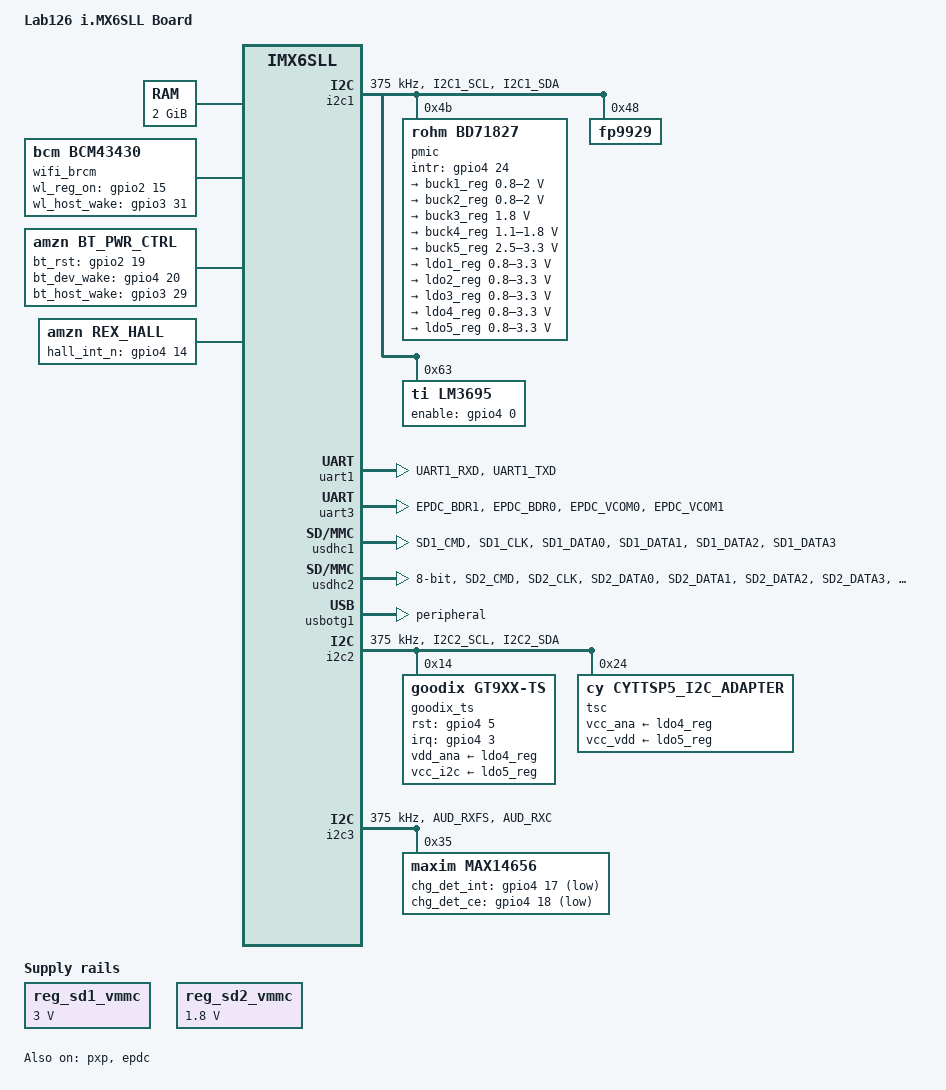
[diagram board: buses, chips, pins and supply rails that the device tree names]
/*
 * Copyright (C) 2016 Freescale Semiconductor, Inc.
 *
 * This program is free software; you can redistribute it and/or modify
 * it under the terms of the GNU General Public License version 2 as
 * published by the Free Software Foundation.
 */

/dts-v1/;

#include <dt-bindings/gpio/gpio.h>
#include <dt-bindings/input/input.h>
#include "imx6sll.dtsi"

/ {
	model = "Lab126 i.MX6SLL Board";
	compatible = "amzn,imx6sll-rex", "fsl,imx6sll";

	memory {
		reg = <0x80000000 0x80000000>;
	};

	reserved-memory {
		#address-cells = <1>;
		#size-cells = <1>;
		ranges;

		epdc_working_buffer: epdc_reserved {
			reg = <0x9b000000 0x300000>;
			no-map;
		};
	};

	wifi_brcm {
		compatible = "bcm,bcm43430";
		wl_reg_on = <&gpio2 15 0>; /* Power on/off GPIO */
		wl_host_wake = <&gpio3 31 0>; /* Host wake for OOB */
	};

	bt_pwr_ctrl {
                compatible = "amzn,bt_pwr_ctrl";
                bt_rst = <&gpio2 19 0>; /* Power on/off GPIO */
                bt_dev_wake = <&gpio4 20 0>; /*BT wake for OOB */
                bt_host_wake = <&gpio3 29 0>; /* Host wake for OOB */
	};

	pxp_v4l2_out {
		compatible = "fsl,imx6sl-pxp-v4l2";
		status = "okay";
	};

	rex_hall {
		compatible = "amzn,rex_hall";
		hall_int_n = <&gpio4 14 0>; /* Use ECSPI2_MISO as hall input from pre-HVT */
		enable-active-high;
		status = "okay";
	};

	regulators {
		compatible = "simple-bus";
		#address-cells = <1>;
		#size-cells = <0>;

		reg_sd1_vmmc: sd1_vmmc {
			compatible = "regulator-fixed";
			regulator-name = "SD1_SPWR";
			regulator-min-microvolt = <3000000>;
			regulator-max-microvolt = <3000000>;
/*Fixme
			gpio = <&gpio3 30 GPIO_ACTIVE_HIGH>;
			enable-active-high;
*/
		};

		reg_sd2_vmmc: sd2_vmmc {
			compatible = "regulator-fixed";
			regulator-name = "eMMC_VCCQ";
			regulator-min-microvolt = <1800000>;
			regulator-max-microvolt = <1800000>;
			regulator-boot-on;
		};
	};

	ramoops_device {
		compatible = "fsl,mxc_ramoops";
		record_size = <524288>; /*512K*/
		console_size= <262144>; /*256K*/
		ftrace_size= <262144>;  /*256K*/
		dump_oops = <1>;
		status = "okay";
	};

	regulator-virtuals {
		compatible = "simple-bus";

		virt-buck1 {
			compatible = "regulator-virtual";
			virtual-supply = "buck1";
		};
		virt-buck2 {
			compatible = "regulator-virtual";
			virtual-supply = "buck2";
		};
		virt-buck3 {
			compatible = "regulator-virtual";
			virtual-supply = "buck3";
		};
		virt-buck4 {
			compatible = "regulator-virtual";
			virtual-supply = "buck4";
		};
		virt-buck5 {
			compatible = "regulator-virtual";
			virtual-supply = "buck5";
		};
		virt-ldo1 {
			compatible = "regulator-virtual";
			virtual-supply = "ldo1";
		};
		virt-ldo2 {
			compatible = "regulator-virtual";
			virtual-supply = "ldo2";
		};
		virt-ldo3 {
			compatible = "regulator-virtual";
			virtual-supply = "ldo3";
		};
		virt-ldo4 {
			compatible = "regulator-virtual";
			virtual-supply = "ldo4";
		};
		virt-ldo5 {
			compatible = "regulator-virtual";
			virtual-supply = "ldo5";
		};
		virt-ldo6 {
			compatible = "regulator-virtual";
			virtual-supply = "ldo6";
		};
		virt-ldosnvs {
			compatible = "regulator-virtual";
			virtual-supply = "ldosnvs";
		};
	};
};


&cpu0 {
	arm-supply = <&buck2_reg>;
	soc-supply = <&buck1_reg>;
};


&i2c1 {
	clock-frequency = <375000>;
	pinctrl-names = "default";
	pinctrl-0 = <&pinctrl_i2c1>;
	status = "okay";

    pmic: bd71827@4b {
        reg = <0x4b>;
        compatible = "rohm,bd71827";
        /* PMIC_INT_B GPIO4_IO24 */
        gpio_intr = <&gpio4 24 0>;

        bd71827,pmic-buck1-uses-i2c-dvs;
        bd71827,pmic-buck1-dvs-voltage = <1100000>, <900000>, <900000>; /* VDD_ARM: Run-Idle-Suspend */
        bd71827,pmic-buck2-uses-i2c-dvs;
        bd71827,pmic-buck2-dvs-voltage = <1100000>, <900000>, <900000>; /* VDD_SOC: Run-Idle-Suspend */

        gpo {
            rohm,drv = <0x0C>;  /* 0b0000_1100 all gpos with cmos output mode */
        };

        regulators {
            #address-cells = <1>;
            #size-cells = <0>;

            buck1_reg: regulator@0 {
                reg = <0>;
                regulator-compatible = "buck1";
                regulator-min-microvolt = <800000>;
                regulator-max-microvolt = <2000000>;
                regulator-boot-on;
                regulator-always-on;
                regulator-ramp-delay = <6250>;
            };

            buck2_reg: regulator@1 {
                reg = <1>;
                regulator-compatible = "buck2";
                regulator-min-microvolt = <800000>;
                regulator-max-microvolt = <2000000>;
                regulator-boot-on;
                regulator-always-on;
                regulator-ramp-delay = <6250>;
            };

            buck3_reg: regulator@2 {
                reg = <2>;
                regulator-compatible = "buck3";
                regulator-min-microvolt = <1800000>;
                regulator-max-microvolt = <1800000>;
                regulator-boot-on;
                regulator-always-on;
            };

            buck4_reg: regulator@3 {
                reg = <3>;
                regulator-compatible = "buck4";
                regulator-min-microvolt = <1100000>;
                regulator-max-microvolt = <1800000>;
                regulator-boot-on;
                regulator-always-on;
            };

            buck5_reg: regulator@4 {
                reg = <4>;
                regulator-compatible = "buck5";
                regulator-min-microvolt = <2500000>;
                regulator-max-microvolt = <3300000>;
                regulator-boot-on;
                regulator-always-on;
            };

            ldo1_reg: regulator@5 {
                reg = <5>;
                regulator-compatible = "ldo1";
                regulator-min-microvolt = <800000>;
                regulator-max-microvolt = <3300000>;
                regulator-boot-on;
                regulator-always-on;
            };

            ldo2_reg: regulator@6 {
                reg = <6>;
                regulator-compatible = "ldo2";
                regulator-min-microvolt = <800000>;
                regulator-max-microvolt = <3300000>;
                regulator-boot-on;
                regulator-always-on;
            };

            ldo3_reg: regulator@7 {
                reg = <7>;
                regulator-compatible = "ldo3";
                regulator-name = "ldo3";
                regulator-min-microvolt = <800000>;
                regulator-max-microvolt = <3300000>;
            };

            ldo4_reg: regulator@8 {
                reg = <8>;
                regulator-compatible = "ldo4";
                regulator-name = "ldo4";
                regulator-min-microvolt = <800000>;
                regulator-max-microvolt = <3300000>;
                regulator-boot-on;
            };

            ldo5_reg: regulator@9 {
                reg = <9>;
                regulator-compatible = "ldo5";
                regulator-name = "ldo5";
                regulator-min-microvolt = <800000>;
                regulator-max-microvolt = <3300000>;
                regulator-boot-on;
            };

            ldo6_reg: regulator@10 {
                reg = <10>;
                regulator-compatible = "ldo6";
                regulator-boot-on;
                regulator-always-on;
            };

            ldosnvs_reg: regulator@11 {
                reg = <11>;
                regulator-compatible = "ldosnvs";
                regulator-boot-on;
                regulator-always-on;
            };
        };
	};

	fp9929@48 {
		compatible = "fp9929";
		reg = <0x48>;
	};

	lm3695@63 {
		compatible = "ti,lm3695";
		reg = <0x63>;
		enable-gpios = <&gpio4 0 GPIO_ACTIVE_HIGH>;

		backlight {
			compatible = "ti,lm3695-backlight";

			panel {
				backlight-name = "bl";
				hvled1-used;
				initial-brightness = <2048>; /* use a value larger than max, to let driver does not set brightness initially */
			};
		};
	};
};


&gpc {
	fsl,ldo-bypass = <1>;
};


&iomuxc {
	pinctrl-names = "default";
	pinctrl-0 = <&pinctrl_hog>;
	pinctrl-1 = <&pinctrl_hog_sleep>;

	hog {
		pinctrl_hog: hoggrp {
			fsl,pins = <
				MX6SLL_PAD_WDOG_B__WDOG1_B               0x4128b0
				MX6SLL_PAD_ECSPI2_MISO__GPIO4_IO14       0x4100b0 /* T20 IN HALL_INT */
				/*WIFI/BT*/
				MX6SLL_PAD_SD1_DATA6__GPIO5_IO07	0x4100b0 /*WIFI_GPIO_0*/ /*1<<22|1<<16|0<<14|0<<13|1<<12|0<<11|2<<6|6<<3|0 	0x020E0554*/
				MX6SLL_PAD_SD1_DATA7__GPIO5_IO10	0x4100b0 /*BT Device Wake*/ /*1<<22|1<<16|0<<14|0<<13|1<<12|0<<11|2<<6|6<<3|0 	/*0x020E0558*/
				MX6SLL_PAD_KEY_ROW2__GPIO3_IO29		0x4130b0 /*BT HOST WAKE*/
				MX6SLL_PAD_GPIO4_IO20__GPIO4_IO20	0x4130b0 /*BT HOST WAKE*/
				MX6SLL_PAD_KEY_ROW3__GPIO3_IO31		0x4130b0 /*WLAN_on*/

				MX6SLL_PAD_LCD_CLK__GPIO2_IO15		0x4130b0 /*0x4170b0 working */ /*WIFI Reg On*/
				MX6SLL_PAD_LCD_RESET__GPIO2_IO19	0x4130b0 /*not tested yet */ /*BT Reg On*/

				/*BT PCM not test yet. need to set  IOMUXC_AUD4_INPUT_DB_AMX_SELECT_INPUT for mode ALT4*/
				MX6SLL_PAD_LCD_DATA03__AUD4_RXD		0x4100b0 /*not tested yet */ /*BT PCM*/
				MX6SLL_PAD_LCD_DATA04__AUD4_TXC		0x4100b0 /*not tested yet */ /*BT PCM*/
				MX6SLL_PAD_LCD_DATA05__AUD4_TXFS	0x4100b0 /*not tested yet */ /*BT PCM*/
				MX6SLL_PAD_LCD_DATA06__AUD4_TXD		0x4100b0 /*not tested yet */ /*BT PCM*/

				MX6SLL_PAD_KEY_ROW0__GPIO3_IO25		0x4100b0  /*EPD PMIC 0x4110b0  */
				MX6SLL_PAD_EPDC_PWR_COM__GPIO2_IO11  	0x4100b0  /*EPD PMIC ENOP*/
				MX6SLL_PAD_GPIO4_IO24__GPIO4_IO24	0x4100b0 /*PMIC INT line*/

				/* CHG_DET */
				MX6SLL_PAD_GPIO4_IO17__GPIO4_IO17	0x41b0b0 /* AA10 IN CHG_DET_INT_N  100K PU */
				MX6SLL_PAD_GPIO4_IO18__GPIO4_IO18	0x41b0b0 /* AC10 IN CHG_DET_CE_N 100K PU */

				/* WAN BEGIN */
				MX6SLL_PAD_KEY_COL2__GPIO3_IO28         0x004100b0 /* E23  OUT WAN_USB_EN */
				MX6SLL_PAD_KEY_COL3__GPIO3_IO30         0x004130b0 /* E22  IN  WAN_FW_READY */
				MX6SLL_PAD_KEY_ROW4__GPIO4_IO01         0x004130b0 /* E19  IN  WAN-2-SOC_WAKEUP */
				MX6SLL_PAD_KEY_COL5__GPIO4_IO02         0x004100b0 /* D24  OUT WAN_VBUS_EN */
				MX6SLL_PAD_KEY_COL6__GPIO4_IO04         0x004100b0 /* D22  OUT WAN_VBAT_EN */
				MX6SLL_PAD_KEY_COL7__GPIO4_IO06         0x004100b0 /* C23  OUT WAN_POWER_ON */
				MX6SLL_PAD_GPIO4_IO16__GPIO4_IO16       0x004100b0 /* W11  OUT SOC-2-WAN_RESET */
				MX6SLL_PAD_GPIO4_IO22__GPIO4_IO22       0x004130b0 /* AD10 IN  WAN_SMS_READY */
				/* WAN END */

				/* LM3695 */
				MX6SLL_PAD_KEY_COL4__GPIO4_IO00         0x004100b0 /* OUT */

				/* SMT_ID */
				MX6SLL_PAD_EPDC_PWR_CTRL0__GPIO2_IO07   0x4100b0 /* D11  IN  SMT_ID1 External PU/PD */
				MX6SLL_PAD_EPDC_PWR_WAKE__GPIO2_IO14    0x4100b0 /* D10  IN  SMT_ID2 External PU/PD */

				/* PROD_ID */
				MX6SLL_PAD_SD3_CMD__GPIO5_IO21        0x4130b0 /* AA11 IN PROD_ID PD */

				/* BOARD_ID */
				MX6SLL_PAD_SD3_DATA0__GPIO5_IO19      0x4100b0 /* AC11 IN BOARD_ID_3 */
				MX6SLL_PAD_SD3_DATA1__GPIO5_IO20      0x4100b0 /* AD11 IN BOARD_ID_2 */
				MX6SLL_PAD_SD3_DATA2__GPIO5_IO16      0x4100b0 /* AC12 IN BOARD_ID_1 */
				MX6SLL_PAD_SD3_DATA3__GPIO5_IO17      0x4100b0 /* AD12 IN BOARD_ID_0 */

				MX6SLL_PAD_GPIO4_IO26__GPIO4_IO26     0x4100b0 /* W10 OUT GG_EXIT_SHDN */

/*The following are NC pins, all set to low power-GPIO-pull down, 0x4130b0, should have been set by u-boot already*/
				MX6SLL_PAD_EPDC_DATA08__GPIO1_IO15  	  	  0x4130b0
				MX6SLL_PAD_EPDC_DATA09__GPIO1_IO16  	  	  0x4130b0
				MX6SLL_PAD_EPDC_DATA10__GPIO1_IO17  	  0x4130b0
				MX6SLL_PAD_EPDC_DATA11__GPIO1_IO18  	  0x4130b0
				MX6SLL_PAD_EPDC_DATA12__GPIO1_IO19  	  0x4130b0
				MX6SLL_PAD_EPDC_DATA13__GPIO1_IO20  	  0x4130b0
				MX6SLL_PAD_EPDC_DATA14__GPIO1_IO21  	  0x4130b0
				MX6SLL_PAD_EPDC_DATA15__GPIO1_IO22  	  0x4130b0
				MX6SLL_PAD_EPDC_SDSHR__GPIO1_IO26  	  0x4130b0
				MX6SLL_PAD_EPDC_SDCE1__GPIO1_IO28  	  0x4130b0
				MX6SLL_PAD_EPDC_GDRL__GPIO2_IO01  	  0x4130b0
				MX6SLL_PAD_EPDC_PWR_CTRL1__GPIO2_IO08  	  0x4130b0
				MX6SLL_PAD_EPDC_PWR_CTRL2__GPIO2_IO09  	  0x4130b0
				MX6SLL_PAD_EPDC_PWR_CTRL3__GPIO2_IO10     0x4130b0
				MX6SLL_PAD_EPDC_PWR_IRQ__GPIO2_IO12  	  0x4130b0
				MX6SLL_PAD_EPDC_PWR_STAT__GPIO2_IO13  	  0x4130b0
				MX6SLL_PAD_LCD_ENABLE__GPIO2_IO16  	  0x4130b0
				MX6SLL_PAD_LCD_HSYNC__GPIO2_IO17  	  0x4130b0
				MX6SLL_PAD_LCD_VSYNC__GPIO2_IO18  	  0x4130b0
				MX6SLL_PAD_LCD_DATA00__GPIO2_IO20  	  0x4130b0
				MX6SLL_PAD_LCD_DATA01__GPIO2_IO21 		  0x4130b0
				MX6SLL_PAD_LCD_DATA02__GPIO2_IO22 		  0x4130b0
				MX6SLL_PAD_LCD_DATA07__GPIO2_IO27  	  0x4130b0
				MX6SLL_PAD_LCD_DATA08__GPIO2_IO28  	  0x4130b0
				MX6SLL_PAD_LCD_DATA09__GPIO2_IO29  	  0x4130b0
				MX6SLL_PAD_LCD_DATA10__GPIO2_IO30  	  0x4130b0
				MX6SLL_PAD_LCD_DATA11__GPIO2_IO31  	  0x4130b0
				MX6SLL_PAD_LCD_DATA12__GPIO3_IO00  	  0x4130b0
				MX6SLL_PAD_LCD_DATA13__GPIO3_IO01  	  0x4130b0
				MX6SLL_PAD_LCD_DATA14__GPIO3_IO02  	  0x4130b0
				MX6SLL_PAD_LCD_DATA15__GPIO3_IO03  	  0x4130b0
				MX6SLL_PAD_LCD_DATA16__GPIO3_IO04  	  0x4130b0
				MX6SLL_PAD_LCD_DATA17__GPIO3_IO05  	  0x4130b0
				MX6SLL_PAD_LCD_DATA18__GPIO3_IO06  	  0x4130b0
				MX6SLL_PAD_LCD_DATA19__GPIO3_IO07  	  0x4130b0
				MX6SLL_PAD_LCD_DATA20__GPIO3_IO08  	  0x4130b0
				MX6SLL_PAD_LCD_DATA21__GPIO3_IO09  	  0x4130b0
				MX6SLL_PAD_LCD_DATA22__GPIO3_IO10  	  0x4130b0
				MX6SLL_PAD_LCD_DATA23__GPIO3_IO11  	  0x4130b0
				MX6SLL_PAD_AUD_RXD__GPIO1_IO02  	  	  0x4130b0
				MX6SLL_PAD_AUD_TXFS__GPIO1_IO04  	  0x4130b0
				MX6SLL_PAD_AUD_TXD__GPIO1_IO05  	  	  0x4130b0
				MX6SLL_PAD_AUD_MCLK__GPIO1_IO06  	  0x4130b0
				MX6SLL_PAD_ECSPI2_SCLK__GPIO4_IO12  	  0x4100b0 /* PROX_INT_N */
				MX6SLL_PAD_ECSPI2_MOSI__GPIO4_IO13  	  0x4130b0
				MX6SLL_PAD_ECSPI2_SS0__GPIO4_IO15  	  0x4130b0
				MX6SLL_PAD_GPIO4_IO19__GPIO4_IO19  	  0x4130b0
				MX6SLL_PAD_GPIO4_IO21__GPIO4_IO21  	  0x4130b0
				MX6SLL_PAD_GPIO4_IO23__GPIO4_IO23  	  0x4130b0
				MX6SLL_PAD_GPIO4_IO25__GPIO4_IO25  	  0x4130b0
				MX6SLL_PAD_SD3_CLK__GPIO5_IO18        0x4130b0
				MX6SLL_PAD_KEY_ROW1__GPIO3_IO27       0x4130b0
				MX6SLL_PAD_KEY_ROW7__GPIO4_IO07  	  0x4130b0
				MX6SLL_PAD_PWM1__GPIO3_IO23  	  	  0x4130b0
			/*Fixme	MX6SLL_PAD_HSIC_DAT__GPIO3_IO19  	  0x4130b0
				MX6SLL_PAD_HSIC_STROBE__GPIO3_IO20  	  0x4130b0
			*/
				MX6SLL_PAD_REF_CLK_24M__GPIO3_IO21  	  0x4130b0
				MX6SLL_PAD_REF_CLK_32K__GPIO3_IO22  	  0x4130b0

				MX6SLL_PAD_SD1_DATA4__UART4_DCE_RX	0x1b0b1
				MX6SLL_PAD_SD1_DATA5__UART4_DCE_TX	0x1b0b1
			/*Done for NC pins*/

			>;
		};

		pinctrl_hog_sleep: hoggrp_sleep {
			fsl,pins = <
				MX6SLL_PAD_WDOG_B__WDOG1_B               0x4128b0
				MX6SLL_PAD_GPIO4_IO20__GPIO4_IO20        0x4130b0
				MX6SLL_PAD_ECSPI2_MISO__GPIO4_IO14       0x4100b0 /* T20 IN HALL_INT */
				/*uart4*/
				MX6SLL_PAD_SD1_DATA5__GPIO5_IO09        0x4130b0
				MX6SLL_PAD_SD1_DATA4__GPIO5_IO12        0x4130b0

			>;
		};
	};


	uart1 {
		pinctrl_uart1: uart1grp-1 {
			fsl,pins = <
				MX6SLL_PAD_UART1_RXD__UART1_DCE_RX 0x41b0b1
				MX6SLL_PAD_UART1_TXD__UART1_DCE_TX 0x41b0b1
			>;
		};
	};


	uart3 {
		pinctrl_uart3: uart3grp-1 {
			fsl,pins = <
				/* pull up */
				MX6SLL_PAD_EPDC_BDR1__UART3_DCE_CTS	0x41b0b1
				MX6SLL_PAD_EPDC_BDR0__UART3_DCE_RTS	0x41b0b1
				MX6SLL_PAD_EPDC_VCOM0__UART3_DCE_RX	0x41b0b1
				/* pull down */
				MX6SLL_PAD_EPDC_VCOM1__UART3_DCE_TX	0x4130b1
			>;
		};
	};


	uart4 {
		pinctrl_uart4_1: uart4grp-1 {
			fsl,pins = <
				MX6SLL_PAD_SD1_DATA4__UART4_DCE_RX	0x1b0b1
				MX6SLL_PAD_SD1_DATA5__UART4_DCE_TX	0x1b0b1
			>;
		};
	};


	epdc {
		pinctrl_epdc0: epdcgrp0 {
			fsl,pins = <
				MX6SLL_PAD_EPDC_DATA00__EPDC_DATA00          0x4110a1 /*1<<22|1<<16|0<<14|0<<13|1<<12|0<<11|2<<6|4<<3|1       0000 0001 0001 0000 1010 0001 */
				MX6SLL_PAD_EPDC_DATA01__EPDC_DATA01          0x4110a1 /*1<<22|1<<16|0<<14|0<<13|1<<12|0<<11|2<<6|4<<3|1       0000 0001 0001 0000 1010 0001 */
				MX6SLL_PAD_EPDC_DATA02__EPDC_DATA02          0x4110a1 /*1<<22|1<<16|0<<14|0<<13|1<<12|0<<11|2<<6|4<<3|1       0000 0001 0001 0000 1010 0001 */
				MX6SLL_PAD_EPDC_DATA03__EPDC_DATA03          0x4110a1 /*1<<22|1<<16|0<<14|0<<13|1<<12|0<<11|2<<6|4<<3|1       0000 0001 0001 0000 1010 0001 */
				MX6SLL_PAD_EPDC_DATA04__EPDC_DATA04          0x4110a1 /*1<<22|1<<16|0<<14|0<<13|1<<12|0<<11|2<<6|4<<3|1       0000 0001 0001 0000 1010 0001 */
				MX6SLL_PAD_EPDC_DATA05__EPDC_DATA05          0x4110a1 /*1<<22|1<<16|0<<14|0<<13|1<<12|0<<11|2<<6|4<<3|1       0000 0001 0001 0000 1010 0001 */
				MX6SLL_PAD_EPDC_DATA06__EPDC_DATA06          0x4110a1 /*1<<22|1<<16|0<<14|0<<13|1<<12|0<<11|2<<6|4<<3|1       0000 0001 0001 0000 1010 0001 */
				MX6SLL_PAD_EPDC_DATA07__EPDC_DATA07          0x4110a1 /*1<<22|1<<16|0<<14|0<<13|1<<12|0<<11|2<<6|4<<3|1       0000 0001 0001 0000 1010 0001 */
				MX6SLL_PAD_EPDC_GDCLK__EPDC_GDCLK            0x4110a0 /*1<<22|1<<16|0<<14|0<<13|1<<12|0<<11|2<<6|4<<3|0       0000 0001 0001 0000 1010 0000 */
				MX6SLL_PAD_EPDC_GDSP__EPDC_GDSP              0x4110a0 /*1<<22|1<<16|0<<14|0<<13|1<<12|0<<11|2<<6|4<<3|0       0000 0001 0001 0000 1010 0000 */
				MX6SLL_PAD_EPDC_GDOE__EPDC_GDOE              0x4110a0 /*1<<22|1<<16|0<<14|0<<13|1<<12|0<<11|2<<6|4<<3|0       0000 0001 0001 0000 1010 0000 */
				MX6SLL_PAD_EPDC_SDCLK__EPDC_SDCLK_P          0x4110a9 /*1<<22|1<<16|0<<14|0<<13|1<<12|0<<11|2<<6|5<<3|1       0000 0001 0001 0000 1010 1001 */
				MX6SLL_PAD_EPDC_SDOE__EPDC_SDOE              0x4110a9 /*1<<22|1<<16|0<<14|0<<13|1<<12|0<<11|2<<6|5<<3|1       0000 0001 0001 0000 1010 1001 */
				MX6SLL_PAD_EPDC_SDLE__EPDC_SDLE              0x4110a1 /*1<<22|1<<16|0<<14|0<<13|1<<12|0<<11|2<<6|4<<3|1       0000 0001 0001 0000 1010 0001 */
				MX6SLL_PAD_EPDC_SDCE0__EPDC_SDCE0            0x4110a0 /*1<<22|1<<16|0<<14|0<<13|1<<12|0<<11|2<<6|4<<3|0       0000 0001 0001 0000 1010 0000 */

/*
				MX6SLL_PAD_EPDC_DATA00__EPDC_DATA00	0x100b1
				MX6SLL_PAD_EPDC_DATA01__EPDC_DATA01	0x100b1
				MX6SLL_PAD_EPDC_DATA02__EPDC_DATA02	0x100b1
				MX6SLL_PAD_EPDC_DATA03__EPDC_DATA03	0x100b1
				MX6SLL_PAD_EPDC_DATA04__EPDC_DATA04	0x100b1
				MX6SLL_PAD_EPDC_DATA05__EPDC_DATA05	0x100b1
				MX6SLL_PAD_EPDC_DATA06__EPDC_DATA06	0x100b1
				MX6SLL_PAD_EPDC_DATA07__EPDC_DATA07	0x100b1
				MX6SLL_PAD_EPDC_DATA08__EPDC_DATA08	0x100b1
				MX6SLL_PAD_EPDC_DATA09__EPDC_DATA09	0x100b1
				MX6SLL_PAD_EPDC_DATA10__EPDC_DATA10	0x100b1
				MX6SLL_PAD_EPDC_DATA11__EPDC_DATA11	0x100b1
				MX6SLL_PAD_EPDC_DATA12__EPDC_DATA12	0x100b1
				MX6SLL_PAD_EPDC_DATA13__EPDC_DATA13	0x100b1
				MX6SLL_PAD_EPDC_DATA14__EPDC_DATA14	0x100b1
				MX6SLL_PAD_EPDC_DATA15__EPDC_DATA15	0x100b1
				MX6SLL_PAD_EPDC_SDCLK__EPDC_SDCLK_P	0x100b1
				MX6SLL_PAD_EPDC_SDLE__EPDC_SDLE		0x100b1
				MX6SLL_PAD_EPDC_SDOE__EPDC_SDOE		0x100b1
				MX6SLL_PAD_EPDC_SDSHR__EPDC_SDSHR	0x100b1
				MX6SLL_PAD_EPDC_SDCE0__EPDC_SDCE0	0x100b1
				MX6SLL_PAD_EPDC_GDCLK__EPDC_GDCLK	0x100b1
				MX6SLL_PAD_EPDC_GDOE__EPDC_GDOE		0x100b1
				MX6SLL_PAD_EPDC_GDRL__EPDC_GDRL		0x100b1
				MX6SLL_PAD_EPDC_GDSP__EPDC_GDSP		0x100b1
*/
                       >;
                };
	};


	touch {
		pinctrl_touch_sensor_default: touch_sensor_default_grp {
			fsl,pins = <
				MX6SLL_PAD_KEY_ROW5__GPIO4_IO03        0x41b0b0 /* TOUCH_INT */
				MX6SLL_PAD_KEY_ROW6__GPIO4_IO05        0x4108b0 /* TOUCH_RST */
				MX6SLL_PAD_KEY_COL0__GPIO3_IO24        0x41b0b0 /* TOUCH_ID1 */
				MX6SLL_PAD_KEY_COL1__GPIO3_IO26        0x41b0b0 /* TOUCH_ID2 */
			>;
		};

		pinctrl_touch_sensor_sleep: touch_sensor_sleep_grp {
			fsl,pins = <
				MX6SLL_PAD_KEY_ROW5__GPIO4_IO03        0x4130b0 /* TOUCH_INT */
				MX6SLL_PAD_KEY_ROW6__GPIO4_IO05        0x4108b0 /* TOUCH_RST */
				MX6SLL_PAD_KEY_COL0__GPIO3_IO24        0x4130b0 /* TOUCH_ID1 */
				MX6SLL_PAD_KEY_COL1__GPIO3_IO26        0x4130b0 /* TOUCH_ID2 */
			>;
		};
	};

	usdhc1 {
		pinctrl_usdhc1: usdhc1grp-1 {
			fsl,pins = <
				MX6SLL_PAD_SD1_CMD__SD1_CMD    0x417069
				MX6SLL_PAD_SD1_CLK__SD1_CLK    0x4100D9 /*0x4000D9*/ /*0x19*/ /*0x41f0b1 1<<22|1<<16|3<<14|1<<13|1<<12|0<<11|2<<6|6<<3|1 	0100 0001 1111 0000 1011 0001 --*/
				MX6SLL_PAD_SD1_DATA0__SD1_DATA0 0x417069
				MX6SLL_PAD_SD1_DATA1__SD1_DATA1 0x417069
				MX6SLL_PAD_SD1_DATA2__SD1_DATA2 0x417069
				MX6SLL_PAD_SD1_DATA3__SD1_DATA3 0x417069
			>;
		};

		pinctrl_usdhc1_100mhz: usdhc1grp-1-100mhz {
			fsl,pins = <
				MX6SLL_PAD_SD1_CMD__SD1_CMD    0x4070a9
				MX6SLL_PAD_SD1_CLK__SD1_CLK    0x4000f9
				MX6SLL_PAD_SD1_DATA0__SD1_DATA0 0x4070a9
				MX6SLL_PAD_SD1_DATA1__SD1_DATA1 0x4070a9
				MX6SLL_PAD_SD1_DATA2__SD1_DATA2 0x4070a9
				MX6SLL_PAD_SD1_DATA3__SD1_DATA3 0x4070a9
			>;
		};

		pinctrl_usdhc1_200mhz: usdhc1grp-1-200mhz {
			fsl,pins = <
				MX6SLL_PAD_SD1_CMD__SD1_CMD    0x4070e9
				MX6SLL_PAD_SD1_CLK__SD1_CLK    0x4000f9
				MX6SLL_PAD_SD1_DATA0__SD1_DATA0 0x4070e9
				MX6SLL_PAD_SD1_DATA1__SD1_DATA1 0x4070e9
				MX6SLL_PAD_SD1_DATA2__SD1_DATA2 0x4070e9
				MX6SLL_PAD_SD1_DATA3__SD1_DATA3 0x4070e9
			>;
		};

	};


	usdhc2 {
		pinctrl_usdhc2: usdhc2grp-1 {
			fsl,pins = <
				MX6SLL_PAD_SD2_CMD__SD2_CMD    0x407059
				MX6SLL_PAD_SD2_CLK__SD2_CLK    0x400059
				MX6SLL_PAD_SD2_DATA0__SD2_DATA0 0x407059
				MX6SLL_PAD_SD2_DATA1__SD2_DATA1 0x407059
				MX6SLL_PAD_SD2_DATA2__SD2_DATA2 0x407059
				MX6SLL_PAD_SD2_DATA3__SD2_DATA3 0x407059
				MX6SLL_PAD_SD2_DATA4__SD2_DATA4 0x407059
				MX6SLL_PAD_SD2_DATA5__SD2_DATA5 0x407059
				MX6SLL_PAD_SD2_DATA6__SD2_DATA6 0x407059
				MX6SLL_PAD_SD2_DATA7__SD2_DATA7 0x407059
				MX6SLL_PAD_SD2_RESET__SD2_RESET  0x407059
			>;
		};

		pinctrl_usdhc2_100mhz: usdhc2grp-1-100mhz {
			fsl,pins = <
				MX6SLL_PAD_SD2_CMD__SD2_CMD    0x4070b9
				MX6SLL_PAD_SD2_CLK__SD2_CLK    0x4000b9
				MX6SLL_PAD_SD2_DATA0__SD2_DATA0 0x4070b9
				MX6SLL_PAD_SD2_DATA1__SD2_DATA1 0x4070b9
				MX6SLL_PAD_SD2_DATA2__SD2_DATA2 0x4070b9
				MX6SLL_PAD_SD2_DATA3__SD2_DATA3 0x4070b9
				MX6SLL_PAD_SD2_DATA4__SD2_DATA4 0x4070b9
				MX6SLL_PAD_SD2_DATA5__SD2_DATA5 0x4070b9
				MX6SLL_PAD_SD2_DATA6__SD2_DATA6 0x4070b9
				MX6SLL_PAD_SD2_DATA7__SD2_DATA7 0x4070b9
				MX6SLL_PAD_SD2_RESET__SD2_RESET  0x4070b9
			>;
		};

		pinctrl_usdhc2_200mhz: usdhc2grp-1-200mhz {
			fsl,pins = <
				MX6SLL_PAD_SD2_CMD__SD2_CMD    0x4070f9
				MX6SLL_PAD_SD2_CLK__SD2_CLK    0x4000f9
				MX6SLL_PAD_SD2_DATA0__SD2_DATA0 0x4070f9
				MX6SLL_PAD_SD2_DATA1__SD2_DATA1 0x4070f9
				MX6SLL_PAD_SD2_DATA2__SD2_DATA2 0x4070f9
				MX6SLL_PAD_SD2_DATA3__SD2_DATA3 0x4070f9
				MX6SLL_PAD_SD2_DATA4__SD2_DATA4 0x4070f9
				MX6SLL_PAD_SD2_DATA5__SD2_DATA5 0x4070f9
				MX6SLL_PAD_SD2_DATA6__SD2_DATA6 0x4070f9
				MX6SLL_PAD_SD2_DATA7__SD2_DATA7 0x4070f9
				MX6SLL_PAD_SD2_RESET__SD2_RESET  0x4070f9
			>;
		};
	};

/*
	pinctrl_usbotg1: usbotg1grp {
		fsl,pins = <
			MX6SLL_PAD_EPDC_PWR_COM__USB_OTG1_ID 0x17059
		>;
	};

*/


	i2c1 {
		pinctrl_i2c1: i2c1grp {
			fsl,pins = <
				MX6SLL_PAD_I2C1_SCL__I2C1_SCL	 0x4041b8b1
				MX6SLL_PAD_I2C1_SDA__I2C1_SDA	 0x4041b8b1
			>;
		};
	};


	i2c2 {
		pinctrl_i2c2: i2c2grp {
			fsl,pins = <
				MX6SLL_PAD_I2C2_SCL__I2C2_SCL	0x404198b1
				MX6SLL_PAD_I2C2_SDA__I2C2_SDA	0x404198b1
			>;
		};
	};


	i2c3 {
		pinctrl_i2c3: i2c3grp {
			fsl,pins = <
				MX6SLL_PAD_AUD_RXFS__I2C3_SCL  0x4041b8b1
				MX6SLL_PAD_AUD_RXC__I2C3_SDA   0x4041b8b1
			>;
		};
	};
};


&pxp {
	status = "okay";
};


&uart1 {
	pinctrl-names = "default";
	pinctrl-0 = <&pinctrl_uart1>;
	status = "okay";
};

&uart3 {
        pinctrl-names = "default";
        pinctrl-0 = <&pinctrl_uart3>;
        fsl,uart-has-rtscts;
        /*fsl,dte-mode;*/
        status = "okay";
};

&usdhc1 {
	pinctrl-names = "default", "state_100mhz", "state_200mhz";
	pinctrl-0 = <&pinctrl_usdhc1>;
	pinctrl-1 = <&pinctrl_usdhc1_100mhz>;
	pinctrl-2 = <&pinctrl_usdhc1_200mhz>;
/*	cd-gpios = <&gpio4 7 GPIO_ACTIVE_LOW>;
	wp-gpios = <&gpio4 22 GPIO_ACTIVE_HIGH>;*/
	keep-power-in-suspend;
/*	enable-sdio-wakeup;*/
	/*vmmc-supply = <&reg_sd1_vmmc>;*/
/*	vqmmc-supply = <&buck3_reg>;*/
	wifi-host; /*add hook for SD card detect mechanism for BCMDHD*/
	status = "okay";
};


&usdhc2 {
    compatible = "falcon_blk";
    pinctrl-names = "default", "state_100mhz", "state_200mhz";
    pinctrl-0 = <&pinctrl_usdhc2>;
    pinctrl-1 = <&pinctrl_usdhc2_100mhz>;
    pinctrl-2 = <&pinctrl_usdhc2_200mhz>;
    bus-width = <8>;
    no-removable;
    nofalcon;
    clocks = <&clks IMX6SLL_CLK_USDHC2>,
                     <&clks IMX6SLL_CLK_USDHC2>,
                     <&clks IMX6SLL_CLK_USDHC2>,
                     <&clks IMX6SLL_CLK_EPIT1>;
    clock-names = "ipg", "ahb", "per", "epit";
    status = "okay";
};



&usbotg1 {
/*	pinctrl-names = "default";*/
/*	pinctrl-0 = <&pinctrl_usbotg1>;*/
	dr_mode = "peripheral";
	disable-over-current;
	srp-disable;
	hnp-disable;
	adp-disable;
	status = "okay";
};

&usbphy1 {
	phy-3p0-supply = <&ldo3_reg>;
	tx-cal-45dp = <0x7>;
	tx-cal-45dn = <0x7>;
	tx-d-cal = <0x0>;
};


&epdc {
	pinctrl-names = "default";
	pinctrl-0 = <&pinctrl_epdc0>;
/*	V3P3-supply = <&V3P3_reg>;
	VCOM-supply = <&VCOM_reg>;
	DISPLAY-supply = <&DISPLAY_reg>; */
	xon-gpios = <&gpio4 13 GPIO_ACTIVE_HIGH>;
	status = "okay";
	reserved-working-buffer = <&epdc_working_buffer>;
};


&wdog1 {
       fsl,wdog_b;
};


&i2c2 {
      clock-frequency = <375000>;
      pinctrl-names = "default";
      pinctrl-0 = <&pinctrl_i2c2>;
      status = "okay";

      goodix_ts@14 {
		compatible = "goodix,gt9xx-ts";
		pinctrl-names = "default", "sleep";
		pinctrl-0 = <&pinctrl_touch_sensor_default>;
		pinctrl-1 = <&pinctrl_touch_sensor_sleep>;
		reg = <0x14>;
		interrupt-parent = <&gpio4>;
		vdd_ana-supply =  <&ldo4_reg>;
		vcc_i2c-supply = <&ldo5_reg>;
		goodix,rst-gpio = <&gpio4 5 0>; /*gpio4-5*/
		goodix,irq-gpio = <&gpio4 3 0>; /*gpio4-3*/
      };

      tsc@24 {
                compatible = "cy,cyttsp5_i2c_adapter";
                pinctrl-names = "default", "sleep";
                pinctrl-0 = <&pinctrl_touch_sensor_default>;
                pinctrl-1 = <&pinctrl_touch_sensor_sleep>;
                reg = <0x24>;

                /* GPIO 38, high-to-low edge triggered */
                #interrupts = <10 IRQ_TYPE_EDGE_FALLING>;
                interrupt-parent = <&gpio4>;
                cy,adapter_id = "cyttsp5_i2c_adapter";
                vcc_ana-supply = <&ldo4_reg>;
                vcc_vdd-supply = <&ldo5_reg>;

                cy,core {
                        cy,name = "cyttsp5_core";

                        cy,irq_gpio = <99>; /*gpio4-3*/
                        cy,rst_gpio = <101>; /*gpio4-5*/
                        cy,hid_desc_register = <1>;
                        /*CY_CORE_FLAG_RESTORE_PARAMETERS */
                        cy,flags = <6>;
                        /* CY_CORE_EWG_NONE */
                        cy,easy_wakeup_gesture = <0>;

                        cy,mt {
                                cy,name = "cyttsp5_mt";

                                cy,inp_dev_name = "cyttsp5_mt";
                                /* CY_MT_FLAG_NONE */
                                cy,flags = <0x00>;
                                cy,abs =
                                                /* ABS_MT_POSITION_X, CY_ABS_MIN_X, CY_ABS_MAX_X, 0, 0 */
                                                <0x35 0 880 0 0
                                                /* ABS_MT_POSITION_Y, CY_ABS_MIN_Y, CY_ABS_MAX_Y, 0, 0 */
                                                0x36 0 1280 0 0
                                                /* ABS_MT_PRESSURE, CY_ABS_MIN_P, CY_ABS_MAX_P, 0, 0 */
                                                0x3a 0 255 0 0
                                                /* CY_IGNORE_VALUE, CY_ABS_MIN_W, CY_ABS_MAX_W, 0, 0 */
                                                0xffff 0 255 0 0
                                                /* ABS_MT_TRACKING_ID, CY_ABS_MIN_T, CY_ABS_MAX_T, 0, 0 */
                                                0x39 0 15 0 0
                                                /* ABS_MT_TOUCH_MAJOR, 0, 255, 0, 0 */
                                                0x30 0 255 0 0
                                                /* ABS_MT_TOUCH_MINOR, 0, 255, 0, 0 */
                                                0x31 0 255 0 0
                                                /* ABS_MT_ORIENTATION, -127, 127, 0, 0 */
                                                0x34 0xffffff81 127 0 0
                                                /* ABS_MT_TOOL_TYPE, 0, MT_TOOL_MAX, 0, 0 */
                                                0x37 0 1 0 0
                                                /* ABS_MT_DISTANCE, 0, 255, 0, 0 */
                                                0x3b 0 255 0 0>;

                                cy,vkeys_x = <720>;
                                cy,vkeys_y = <1280>;

                                cy,virtual_keys = /* KeyCode CenterX CenterY Width Height */
                                                /* KEY_BACK */
                                                <158 1360 90 160 180
                                                /* KEY_MENU */
                                                139 1360 270 160 180
                                                /* KEY_HOMEPAGE */
                                                172 1360 450 160 180
                                                /* KEY SEARCH */
                                                217 1360 630 160 180>;
                        };
                };
        };
};


&i2c3 {
      clock-frequency = <375000>;
      pinctrl-names = "default";
      pinctrl-0 = <&pinctrl_i2c3>;
      status = "okay";

      /* Maxim MAX14656 / AL32 USB Charger Detector */
      max14656@35 {
            compatible = "maxim,max14656";
            reg = <0x35>;
            chg_det_int = <&gpio4 17 GPIO_ACTIVE_LOW>;
            chg_det_ce  = <&gpio4 18 GPIO_ACTIVE_LOW>;
      };

};

&epit1 {
	clocks = <&clks IMX6SLL_CLK_EPIT1>;
	clock-names = "ipg";
};

/ {
        falcon {
                storage = <&usdhc2>;
                storage-name = "mx6-falcon-emmc";
                max_seg_size = <0xfe00>;
                max_hw_segs = /bits/ 16 <128>; // multi sector I/O
                max_phys_segs = /bits/ 16 <128>;
                max_req_size = <(0xfe00 * 128)>;
                max_blk_size = <0x200>;
                max_blk_count = <(0xfe00 * 128 / 0x200)>;
                irq = <(-1)>;
                dma_mask = <0x0 0xffffffff>;
                heads = /bits/ 8 <4>;
                sectors = /bits/ 8 <16>;

                falcon-bios = <0x9ffd0000 0x00030000>;
                storage-bios = <0x9ffc0000 0x00010000>;
                work-size = <0x00000000>;
        };
};

